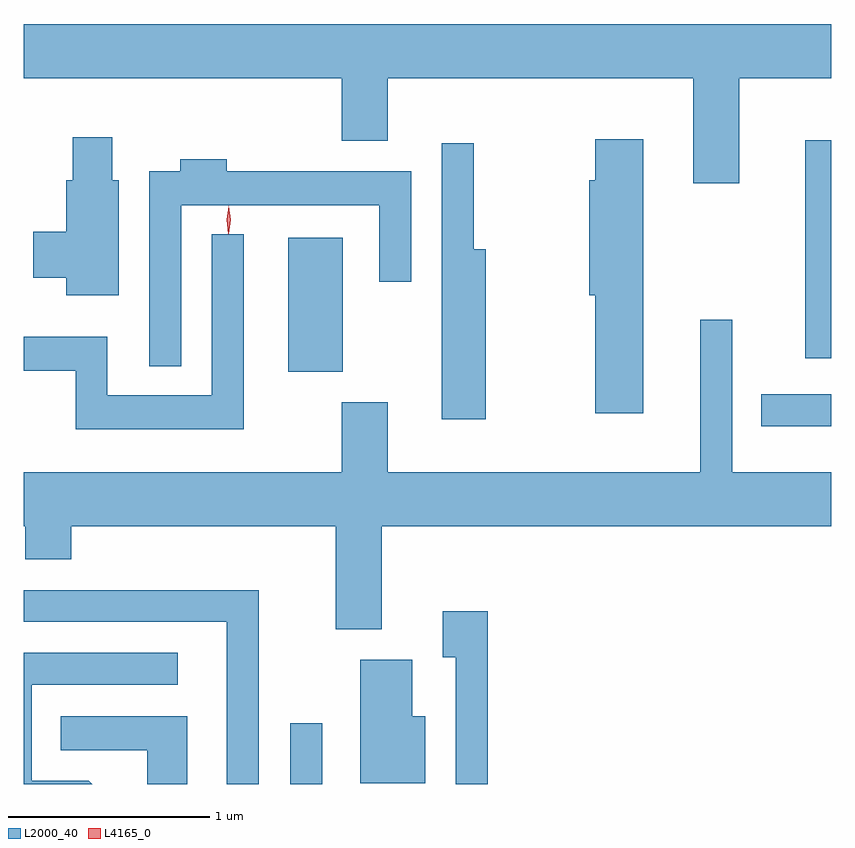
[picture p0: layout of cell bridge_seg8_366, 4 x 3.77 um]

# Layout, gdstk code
import gdstk
lib = gdstk.Library(unit=1e-6, precision=1e-09)
def R(c, l, rs):  # rectangles x0, y0, x1, y1
    for r in rs: c.add(gdstk.rectangle(r[:2], r[2:], *l))
def P(c, l, *ps):  # polygons
    for p in ps: c.add(gdstk.Polygon(p, *l))
L2000_40 = (2000, 40)
L4165_0 = (4165, 0)

bridge_seg8_366 = lib.new_cell('bridge_seg8_366')
R(bridge_seg8_366, L2000_40, [(691.086,1881.758,691.244,1882.058), (693.418,1883.531,693.765,1883.689), (691.076,1883.801,691.344,1884.464), (693.636,1883.868,693.765,1884.948)])
P(bridge_seg8_366, L2000_40, [(693.309,1885.256),(693.765,1885.256),(693.765,1885.524),(689.765,1885.524),(689.765,1885.256),(691.341,1885.256),(691.341,1884.946),(691.569,1884.946),(691.569,1885.256),(693.081,1885.256),(693.081,1884.736),(693.309,1884.736)],
  [(690.234,1884.749),(690.204,1884.749),(690.204,1884.964),(690.006,1884.964),(690.006,1884.749),(689.976,1884.749),(689.976,1884.494),(689.811,1884.494),(689.811,1884.266),(689.976,1884.266),(689.976,1884.181),(690.234,1884.181)],
  [(692.834,1884.954),(692.596,1884.954),(692.596,1884.749),(692.566,1884.749),(692.566,1884.181),(692.596,1884.181),(692.596,1883.596),(692.834,1883.596)],
  [(692.054,1884.409),(691.994,1884.409),(691.994,1884.933),(691.836,1884.933),(691.836,1883.566),(692.054,1883.566)],
  [(690.544,1884.626),(691.526,1884.626),(691.526,1884.248),(691.684,1884.248),(691.684,1884.794),(690.769,1884.794),(690.769,1884.854),(690.541,1884.854),(690.541,1884.794),(690.386,1884.794),(690.386,1883.828),(690.544,1883.828)],
  [(690.854,1884.483),(690.696,1884.483),(690.696,1883.684),(690.179,1883.684),(690.179,1883.974),(689.765,1883.974),(689.765,1883.806),(690.021,1883.806),(690.021,1883.516),(690.854,1883.516)],
  [(691.539,1883.036),(693.765,1883.036),(693.765,1883.304),(693.274,1883.304),(693.274,1884.058),(693.116,1884.058),(693.116,1883.304),(691.569,1883.304),(691.569,1883.649),(691.341,1883.649),(691.341,1883.304),(689.765,1883.304),(689.765,1883.036),(689.771,1883.036),(689.771,1882.871),(689.999,1882.871),(689.999,1883.036),(691.311,1883.036),(691.311,1882.526),(691.539,1882.526)],
  [(690.929,1882.719),(689.765,1882.719),(689.765,1882.561),(690.771,1882.561),(690.771,1881.758),(690.929,1881.758)],
  [(692.064,1882.614),(691.841,1882.614),(691.841,1882.386),(691.906,1882.386),(691.906,1881.758),(692.064,1881.758)],
  [(690.087,1881.774),(689.804,1881.774),(689.804,1882.251),(690.528,1882.251),(690.528,1882.409),(689.765,1882.409),(689.765,1881.758),(690.103,1881.758)],
  [(691.754,1882.094),(691.689,1882.094),(691.689,1882.374),(691.431,1882.374),(691.431,1881.761),(691.754,1881.761)],
  [(690.574,1882.094),(689.948,1882.094),(689.948,1881.926),(690.376,1881.926),(690.376,1881.758),(690.574,1881.758)])
P(bridge_seg8_366, L4165_0, [(690.778,1884.483),(690.778,1884.484),(690.769,1884.553),(690.779,1884.622),(690.779,1884.623),(690.78,1884.622),(690.789,1884.553),(690.779,1884.484)],
  [(690.778,1884.487),(690.778,1884.487),(690.769,1884.553),(690.779,1884.62),(690.779,1884.62),(690.78,1884.62),(690.789,1884.553),(690.779,1884.487)])

lib.write_gds('bridge_seg8_366.gds')
